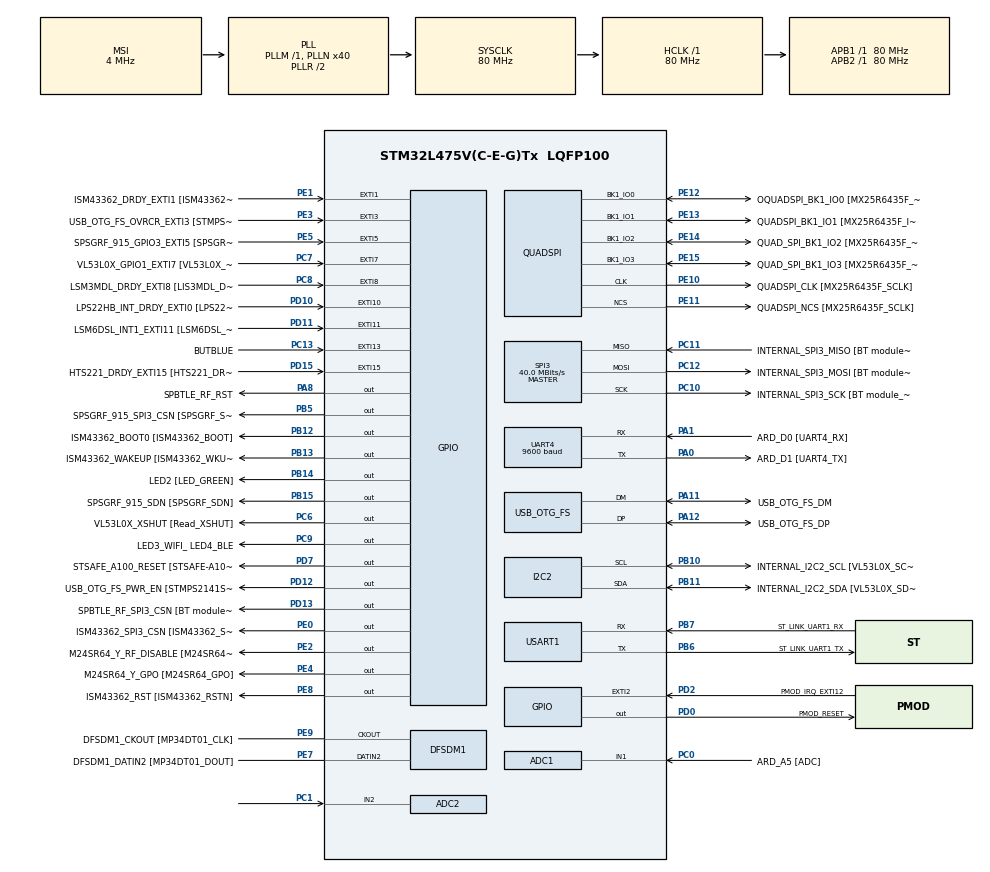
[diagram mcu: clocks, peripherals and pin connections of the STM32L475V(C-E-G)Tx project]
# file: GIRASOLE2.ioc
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ADC1.Channel-0\#ChannelRegularConversion=ADC_CHANNEL_1
ADC1.NbrOfConversionFlag=1
ADC1.OffsetNumber-0\#ChannelRegularConversion=ADC_OFFSET_NONE
ADC1.Rank-0\#ChannelRegularConversion=1
ADC1.SamplingTime-0\#ChannelRegularConversion=ADC_SAMPLETIME_2CYCLES_5
ADC1.master=1
ADC2.Channel-0\#ChannelRegularConversion=ADC_CHANNEL_2
ADC2.NbrOfConversionFlag=1
ADC2.OffsetNumber-0\#ChannelRegularConversion=ADC_OFFSET_NONE
ADC2.Rank-0\#ChannelRegularConversion=1
ADC2.SamplingTime-0\#ChannelRegularConversion=ADC_SAMPLETIME_2CYCLES_5
FREERTOS.BinarySemaphores01=rpanel_sem,Dynamic,NULL;lpanel_sem,Dynamic,NULL;led1_sem,Dynamic,NULL;led2_sem,Dynamic,NULL;led3_sem,Dynamic,NULL;button_sem,Dynamic,NULL
FREERTOS.Mutexes01=MutexPD,Dynamic,NULL;panelsMutex,Dynamic,NULL
FREERTOS.Tasks01=ReadLeftPanel,0,128,StartReadLeftPanel,Default,NULL,Dynamic,NULL,NULL;ReadRightPanel,0,128,StartReadRightPanel,Default,NULL,Dynamic,NULL,NULL;SerialDebug,0,128,StartSerialDebug,Default,NULL,Dynamic,NULL,NULL;SyncButtonTask,1,128,StartSyncButton,Default,NULL,Dynamic,NULL,NULL;ledTask1,0,128,StartLedTask1,Default,NULL,Dynamic,NULL,NULL;ledTask2,0,128,StartLedTask2,Default,NULL,Dynamic,NULL,NULL;ledTask3,0,128,StartLedTask3,Default,NULL,Dynamic,NULL,NULL
FREERTOS.configTOTAL_HEAP_SIZE=6000
Mcu.Family=STM32L4
Mcu.Name=STM32L475V(C-E-G)Tx
Mcu.Package=LQFP100
NVIC.EXTI15_10_IRQn=true\:5\:0\:false\:false\:true\:true\:true\:true
NVIC.EXTI9_5_IRQn=true\:5\:0\:false\:false\:true\:true\:true\:true
NVIC.PriorityGroup=NVIC_PRIORITYGROUP_4
NVIC.TIM1_UP_TIM16_IRQn=true\:0\:0\:false\:false\:true\:false\:false\:true
NVIC.TimeBase=TIM1_UP_TIM16_IRQn
NVIC.TimeBaseIP=TIM1
NVIC.UART4_IRQn=true\:5\:0\:false\:false\:true\:true\:true\:true
PA0.GPIO_Label=ARD_D1 [UART4_TX]
PA0.Mode=Asynchronous
PA0.Signal=UART4_TX
PA1.GPIO_Label=ARD_D0 [UART4_RX]
PA1.Mode=Asynchronous
PA1.Signal=UART4_RX
PA10.GPIO_Label=USB_OTG_FS_ID
PA10.Signal=USB_OTG_FS_ID
PA11.GPIO_Label=USB_OTG_FS_DM
PA11.Mode=Device_Only
PA11.Signal=USB_OTG_FS_DM
PA12.GPIO_Label=USB_OTG_FS_DP
PA12.Mode=Device_Only
PA12.Signal=USB_OTG_FS_DP
PA13\ (JTMS-SWDIO).GPIO_Label=SYS_JTMS_SWDIO
PA13\ (JTMS-SWDIO).Mode=Serial_Wire
PA13\ (JTMS-SWDIO).Signal=SYS_JTMS-SWDIO
PA14\ (JTCK-SWCLK).GPIO_Label=SYS_JTCK_SWCLK
PA14\ (JTCK-SWCLK).Mode=Serial_Wire
PA14\ (JTCK-SWCLK).Signal=SYS_JTCK-SWCLK
PA8.GPIO_Label=SPBTLE_RF_RST
PA8.Signal=GPIO_Output
PA9.GPIO_Label=USB_OTG_FS_VBUS [STMPS2141STR_OUT]
PA9.Signal=USB_OTG_FS_VBUS
PB10.GPIO_Label=INTERNAL_I2C2_SCL [VL53L0X_SCL]
PB10.Mode=I2C
PB10.Signal=I2C2_SCL
PB11.GPIO_Label=INTERNAL_I2C2_SDA [VL53L0X_SDA]
PB11.Mode=I2C
PB11.Signal=I2C2_SDA
PB12.GPIO_Label=ISM43362_BOOT0 [ISM43362_BOOT]
PB12.Signal=GPIO_Output
PB13.GPIO_Label=ISM43362_WAKEUP [ISM43362_WKUP]
PB13.Signal=GPIO_Output
PB14.GPIO_Label=LED2 [LED_GREEN]
PB14.Signal=GPIO_Output
PB15.GPIO_Label=SPSGRF_915_SDN [SPSGRF_SDN]
PB15.Signal=GPIO_Output
PB3\ (JTDO-TRACESWO).GPIO_Label=SYS_JTD0_SWO
PB3\ (JTDO-TRACESWO).Signal=SYS_JTDO-SWO
PB5.GPIO_Label=SPSGRF_915_SPI3_CSN [SPSGRF_SPI_CS]
PB5.PinState=GPIO_PIN_SET
PB5.Signal=GPIO_Output
PB6.GPIO_Label=ST_LINK_UART1_TX
PB6.Mode=Asynchronous
PB6.Signal=USART1_TX
PB7.GPIO_Label=ST_LINK_UART1_RX
PB7.Mode=Asynchronous
PB7.Signal=USART1_RX
PC0.GPIO_Label=ARD_A5 [ADC]
PC0.Signal=ADCx_IN1
PC1.Signal=ADCx_IN2
PC10.GPIO_Label=INTERNAL_SPI3_SCK [BT module_SPI_SCLK] [ISM43362_SCK]
PC10.Mode=Full_Duplex_Master
PC10.Signal=SPI3_SCK
PC11.GPIO_Label=INTERNAL_SPI3_MISO [BT module_SPI_MISO] [ISM43362_MISO]
PC11.Mode=Full_Duplex_Master
PC11.Signal=SPI3_MISO
PC12.GPIO_Label=INTERNAL_SPI3_MOSI [BT module_SPI_MOSI] [ISM43362_MOSI]
PC12.Mode=Full_Duplex_Master
PC12.Signal=SPI3_MOSI
PC13.GPIO_Label=BUTBLUE
PC13.GPIO_ModeDefaultEXTI=GPIO_MODE_IT_FALLING
PC13.Signal=GPXTI13
PC14-OSC32_IN\ (PC14).Mode=LSE-External-Oscillator
PC14-OSC32_IN\ (PC14).Signal=RCC_OSC32_IN
PC15-OSC32_OUT\ (PC15).Mode=LSE-External-Oscillator
PC15-OSC32_OUT\ (PC15).Signal=RCC_OSC32_OUT
PC6.GPIO_Label=VL53L0X_XSHUT [Read_XSHUT]
PC6.Signal=GPIO_Output
PC7.GPIO_Label=VL53L0X_GPIO1_EXTI7 [VL53L0X_GPIO1]
PC7.Signal=GPXTI7
PC8.GPIO_Label=LSM3MDL_DRDY_EXTI8 [LIS3MDL_DRDY]
PC8.Signal=GPXTI8
PC9.GPIO_Label=LED3_WIFI_ LED4_BLE
PC9.Signal=GPIO_Output
PD0.GPIO_Label=PMOD_RESET
PD0.Signal=GPIO_Output
PD1.GPIO_Label=PMOD_SPI2_SCK
PD1.Signal=SPI2_SCK
PD10.GPIO_Label=LPS22HB_INT_DRDY_EXTI0 [LPS22HB_INT_DRDY] 
PD10.Signal=GPXTI10
PD11.GPIO_Label=LSM6DSL_INT1_EXTI11 [LSM6DSL_INT1]
PD11.Signal=GPXTI11
PD12.GPIO_Label=USB_OTG_FS_PWR_EN [STMPS2141STR_EN]
PD12.Signal=GPIO_Output
PD13.GPIO_Label=SPBTLE_RF_SPI3_CSN [BT module_SPI_CS]
PD13.PinState=GPIO_PIN_SET
PD13.Signal=GPIO_Output
PD15.GPIO_Label=HTS221_DRDY_EXTI15 [HTS221_DRDY]
PD15.Signal=GPXTI15
PD2.GPIO_Label=PMOD_IRQ_EXTI12
PD2.Signal=GPXTI2
PD7.GPIO_Label=STSAFE_A100_RESET [STSAFE-A100_RESET]
PD7.Signal=GPIO_Output
PD8.GPIO_Label=INTERNAL_UART3_TX [ISM43362_RX]
PD8.Signal=USART3_TX
PD9.GPIO_Label=INTERNAL_UART3_RX [ISM43362_TX]
PD9.Signal=USART3_RX
PE0.GPIO_Label=ISM43362_SPI3_CSN [ISM43362_SSN]
PE0.PinState=GPIO_PIN_SET
PE0.Signal=GPIO_Output
PE1.GPIO_Label=ISM43362_DRDY_EXTI1 [ISM43362_DATARDY]
PE1.Signal=GPXTI1
PE10.GPIO_Label=QUADSPI_CLK [MX25R6435F_SCLK]
PE10.Mode=Single Bank
PE10.Signal=QUADSPI_CLK
PE11.GPIO_Label=QUADSPI_NCS [MX25R6435F_SCLK]
PE11.Mode=Single Bank
PE11.Signal=QUADSPI_NCS
PE12.GPIO_Label=OQUADSPI_BK1_IO0 [MX25R6435F_IO0]
PE12.Mode=Single Bank
PE12.Signal=QUADSPI_BK1_IO0
PE13.GPIO_Label=QUADSPI_BK1_IO1 [MX25R6435F_IO1]
PE13.Mode=Single Bank
PE13.Signal=QUADSPI_BK1_IO1
PE14.GPIO_Label=QUAD_SPI_BK1_IO2 [MX25R6435F_IO2]
PE14.Mode=Single Bank
PE14.Signal=QUADSPI_BK1_IO2
PE15.GPIO_Label=QUAD_SPI_BK1_IO3 [MX25R6435F_IO3]
PE15.Mode=Single Bank
PE15.Signal=QUADSPI_BK1_IO3
PE2.GPIO_Label=M24SR64_Y_RF_DISABLE [M24SR64_RFDIS]
PE2.Signal=GPIO_Output
PE3.GPIO_Label=USB_OTG_FS_OVRCR_EXTI3 [STMPS2141STR_FAULT]
PE3.Signal=GPXTI3
PE4.GPIO_Label=M24SR64_Y_GPO [M24SR64_GPO]
PE4.Signal=GPIO_Output
PE5.GPIO_Label=SPSGRF_915_GPIO3_EXTI5 [SPSGRF_GPIO_3]
PE5.Signal=GPXTI5
PE7.GPIO_Label=DFSDM1_DATIN2 [MP34DT01_DOUT]
PE7.Signal=S_DATAIN2DFSDM1
PE8.GPIO_Label=ISM43362_RST [ISM43362_RSTN]
PE8.Signal=GPIO_Output
PE9.GPIO_Label=DFSDM1_CKOUT [MP34DT01_CLK]
PE9.Signal=S_CKOUTDFSDM1
ProjectManager.HeapSize=0x200
ProjectManager.StackSize=0x400
ProjectManager.TargetToolchain=STM32CubeIDE
RCC.ADCFreq_Value=48000000
RCC.AHBFreq_Value=80000000
RCC.APB1Freq_Value=80000000
RCC.APB1TimFreq_Value=80000000
RCC.APB2Freq_Value=80000000
RCC.APB2TimFreq_Value=80000000
RCC.CortexFreq_Value=80000000
RCC.HCLKFreq_Value=80000000
RCC.HSE_VALUE=8000000
RCC.HSI_VALUE=16000000
RCC.MSI_VALUE=4000000
RCC.PLLN=40
RCC.PLLSAI1N=24
RCC.SYSCLKFreq_VALUE=80000000
RCC.SYSCLKSource=RCC_SYSCLKSOURCE_PLLCLK
RCC.USBFreq_Value=48000000
RCC.VCOOutputFreq_Value=160000000
SH.ADCx_IN1.0=ADC1_IN1,IN1-Single-Ended
SH.ADCx_IN2.0=ADC1_IN2
SH.ADCx_IN2.1=ADC2_IN2,IN2-Single-Ended
SH.S_CKOUTDFSDM1.0=DFSDM1_CKOUT,CKOUT
SH.S_CKOUTDFSDM1.1=DFSDM1_CKOUT,PDM_SPI_Input_from_ch12_and_Internal_Clock
SH.S_DATAIN2DFSDM1.0=DFSDM1_DATIN2,PDM_SPI_Input_from_ch12_and_Internal_Clock
SPI3.CalculateBaudRate=40.0 MBits/s
SPI3.Direction=SPI_DIRECTION_2LINES
SPI3.Mode=SPI_MODE_MASTER
SPI3.VirtualType=VM_MASTER
UART4.BaudRate=9600
USART1.VirtualMode-Asynchronous=VM_ASYNC
USB_OTG_FS.VirtualMode=Device_Only
VP_FREERTOS_VS_CMSIS_V1.Mode=CMSIS_V1
VP_SYS_VS_tim1.Mode=TIM1
board=B-L475E-IOT01A1

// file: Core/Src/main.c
/* USER CODE BEGIN Header */
/**
  ******************************************************************************
  * @file           : main.c
  * @brief          : Main program body
  ******************************************************************************
  * @attention
  *
  * <h2><center>&copy; Copyright (c) 2020 STMicroelectronics.
  * All rights reserved.</center></h2>
  *
  * This software component is licensed by ST under BSD 3-Clause license,
  * the "License"; You may not use this file except in compliance with the
  * License. You may obtain a copy of the License at:
  *                        opensource.org/licenses/BSD-3-Clause
  *
  ******************************************************************************
  */
/* USER CODE END Header */

#include "main.h"
#include "cmsis_os.h"

/* USER CODE BEGIN PM */
#define SERIAL
#define BLUETOOTH
/* USER CODE END PM */

ADC_HandleTypeDef hadc1;
ADC_HandleTypeDef hadc2;

DFSDM_Channel_HandleTypeDef hdfsdm1_channel1;

I2C_HandleTypeDef hi2c2;

QSPI_HandleTypeDef hqspi;

SPI_HandleTypeDef hspi3;

UART_HandleTypeDef huart4;
UART_HandleTypeDef huart1;

PCD_HandleTypeDef hpcd_USB_OTG_FS;

osThreadId ReadLeftPanelHandle;
osThreadId ReadRightPanelHandle;
osThreadId SerialDebugHandle;
osThreadId SyncButtonTaskHandle;
osThreadId ledTask1Handle;
osThreadId ledTask2Handle;
osThreadId ledTask3Handle;
osMutexId MutexPDHandle;
osMutexId panelsMutexHandle;
osSemaphoreId rpanel_semHandle;
osSemaphoreId lpanel_semHandle;
osSemaphoreId led1_semHandle;
osSemaphoreId led2_semHandle;
osSemaphoreId led3_semHandle;
osSemaphoreId button_semHandle;
/* USER CODE BEGIN PV */
uint8_t* Rx_Data[1];
/* USER CODE END PV */

void SystemClock_Config(void);
static void MX_GPIO_Init(void);
static void MX_DFSDM1_Init(void);
static void MX_I2C2_Init(void);
static void MX_QUADSPI_Init(void);
static void MX_SPI3_Init(void);
static void MX_USART1_UART_Init(void);
static void MX_USB_OTG_FS_PCD_Init(void);
static void MX_ADC1_Init(void);
static void MX_ADC2_Init(void);
static void MX_UART4_Init(void);
void StartReadLeftPanel(void const * argument);
void StartReadRightPanel(void const * argument);
void StartSerialDebug(void const * argument);
void StartSyncButton(void const * argument);
void StartLedTask1(void const * argument);
void StartLedTask2(void const * argument);
void StartLedTask3(void const * argument);

/* USER CODE BEGIN 0 */

// Structure for panels data
struct panelsData {
	int rightPanelValue, leftPanelValue, threshold, variation;
} pd;

// Function to initialize panel data
void panelDataInit() {
	pd.leftPanelValue = 0;
	pd.rightPanelValue = 0;
	pd.threshold = 10;
	pd.variation = 10;
}

//Structure for precedence constraints management
struct prec_control {
	int lpw, rpw;
	int l1w, l2w, l3w;
	int lpanel_done, rpanel_done;
	int led1_done, led2_done, led3_done;
	int button_wait, button_can_do;
} pcm;

void prec_control_manag_init()
{
	pcm.lpw = pcm.rpw = 0;
	pcm.l1w = pcm.l2w = pcm.l3w = 0;
	pcm.lpanel_done = pcm.rpanel_done = 0;
	pcm.led1_done = pcm.led2_done = pcm.led3_done = 1;
	pcm.button_wait = pcm.button_can_do = 0;
}

// Variable on 1 if button has been pressed
extern int blue_button_pressed;

/* USER CODE END 0 */

int main(void)
{
  /* USER CODE BEGIN 1 */
	// Initialize panels data structure
	panelDataInit();
	// Initialize control data structure
	prec_control_manag_init();
  /* USER CODE END 1 */

  /* MCU Configuration--------------------------------------------------------*/

  /* Reset of all peripherals, Initializes the Flash interface and the Systick. */
  HAL_Init();

  /* Configure the system clock */
  SystemClock_Config();

  /* Initialize all configured peripherals */
  MX_GPIO_Init();
  MX_DFSDM1_Init();
  MX_I2C2_Init();
  MX_QUADSPI_Init();
  MX_SPI3_Init();
  MX_USART1_UART_Init();
  MX_USB_OTG_FS_PCD_Init();
  MX_ADC1_Init();
  MX_ADC2_Init();
  MX_UART4_Init();
  /* USER CODE BEGIN 2 */
  __HAL_UART_ENABLE_IT(&huart4, UART_IT_RXNE);
  __HAL_UART_ENABLE_IT(&huart4, UART_IT_TC);
  /* USER CODE END 2 */

  /* Create the mutex(es) */
  /* definition and creation of MutexPD */
  osMutexDef(MutexPD);
  MutexPDHandle = osMutexCreate(osMutex(MutexPD));

  /* definition and creation of panelsMutex */
  osMutexDef(panelsMutex);
  panelsMutexHandle = osMutexCreate(osMutex(panelsMutex));

  /* USER CODE BEGIN RTOS_MUTEX */
  /* add mutexes, ... */
  //osMutexWait(panelsMutexHandle, osWaitForever);
  /* USER CODE END RTOS_MUTEX */

  /* Create the semaphores(s) */
  /* definition and creation of rpanel_sem */
  osSemaphoreDef(rpanel_sem);
  rpanel_semHandle = osSemaphoreCreate(osSemaphore(rpanel_sem), 1);

  /* definition and creation of lpanel_sem */
  osSemaphoreDef(lpanel_sem);
  lpanel_semHandle = osSemaphoreCreate(osSemaphore(lpanel_sem), 1);

  /* definition and creation of led1_sem */
  osSemaphoreDef(led1_sem);
  led1_semHandle = osSemaphoreCreate(osSemaphore(led1_sem), 1);

  /* definition and creation of led2_sem */
  osSemaphoreDef(led2_sem);
  led2_semHandle = osSemaphoreCreate(osSemaphore(led2_sem), 1);

  /* definition and creation of led3_sem */
  osSemaphoreDef(led3_sem);
  led3_semHandle = osSemaphoreCreate(osSemaphore(led3_sem), 1);

  /* definition and creation of button_sem */
  osSemaphoreDef(button_sem);
  button_semHandle = osSemaphoreCreate(osSemaphore(button_sem), 1);

  /* Create the thread(s) */
  /* definition and creation of ReadLeftPanel */
  osThreadDef(ReadLeftPanel, StartReadLeftPanel, osPriorityNormal, 0, 128);
  ReadLeftPanelHandle = osThreadCreate(osThread(ReadLeftPanel), NULL);

  /* definition and creation of ReadRightPanel */
  osThreadDef(ReadRightPanel, StartReadRightPanel, osPriorityNormal, 0, 128);
  ReadRightPanelHandle = osThreadCreate(osThread(ReadRightPanel), NULL);

  /* definition and creation of SerialDebug */
  osThreadDef(SerialDebug, StartSerialDebug, osPriorityNormal, 0, 128);
  SerialDebugHandle = osThreadCreate(osThread(SerialDebug), NULL);

  /* definition and creation of SyncButtonTask */
  osThreadDef(SyncButtonTask, StartSyncButton, osPriorityAboveNormal, 0, 128);
  SyncButtonTaskHandle = osThreadCreate(osThread(SyncButtonTask), NULL);

  /* definition and creation of ledTask1 */
  osThreadDef(ledTask1, StartLedTask1, osPriorityNormal, 0, 128);
  ledTask1Handle = osThreadCreate(osThread(ledTask1), NULL);

  /* definition and creation of ledTask2 */
  osThreadDef(ledTask2, StartLedTask2, osPriorityNormal, 0, 128);
  ledTask2Handle = osThreadCreate(osThread(ledTask2), NULL);

  /* definition and creation of ledTask3 */
  osThreadDef(ledTask3, StartLedTask3, osPriorityNormal, 0, 128);
  ledTask3Handle = osThreadCreate(osThread(ledTask3), NULL);

  /* Start scheduler */
  osKernelStart();

  /* We should never get here as control is now taken by the scheduler */

  /* Infinite loop */
  while (1)
  {

  }
}

void SystemClock_Config(void)
{
  RCC_OscInitTypeDef RCC_OscInitStruct = {0};
  RCC_ClkInitTypeDef RCC_ClkInitStruct = {0};
  RCC_PeriphCLKInitTypeDef PeriphClkInit = {0};

  /** Configure LSE Drive Capability
  */
  HAL_PWR_EnableBkUpAccess();
  __HAL_RCC_LSEDRIVE_CONFIG(RCC_LSEDRIVE_LOW);
  /** Initializes the CPU, AHB and APB busses clocks
  */
  RCC_OscInitStruct.OscillatorType = RCC_OSCILLATORTYPE_LSE|RCC_OSCILLATORTYPE_MSI;
  RCC_OscInitStruct.LSEState = RCC_LSE_ON;
  RCC_OscInitStruct.MSIState = RCC_MSI_ON;
  RCC_OscInitStruct.MSICalibrationValue = 0;
  RCC_OscInitStruct.MSIClockRange = RCC_MSIRANGE_6;
  RCC_OscInitStruct.PLL.PLLState = RCC_PLL_ON;
  RCC_OscInitStruct.PLL.PLLSource = RCC_PLLSOURCE_MSI;
  RCC_OscInitStruct.PLL.PLLM = 1;
  RCC_OscInitStruct.PLL.PLLN = 40;
  RCC_OscInitStruct.PLL.PLLP = RCC_PLLP_DIV7;
  RCC_OscInitStruct.PLL.PLLQ = RCC_PLLQ_DIV2;
  RCC_OscInitStruct.PLL.PLLR = RCC_PLLR_DIV2;
  if (HAL_RCC_OscConfig(&RCC_OscInitStruct) != HAL_OK)
  {
    Error_Handler();
  }
  /** Initializes the CPU, AHB and APB busses clocks
  */
  RCC_ClkInitStruct.ClockType = RCC_CLOCKTYPE_HCLK|RCC_CLOCKTYPE_SYSCLK
                              |RCC_CLOCKTYPE_PCLK1|RCC_CLOCKTYPE_PCLK2;
  RCC_ClkInitStruct.SYSCLKSource = RCC_SYSCLKSOURCE_PLLCLK;
  RCC_ClkInitStruct.AHBCLKDivider = RCC_SYSCLK_DIV1;
  RCC_ClkInitStruct.APB1CLKDivider = RCC_HCLK_DIV1;
  RCC_ClkInitStruct.APB2CLKDivider = RCC_HCLK_DIV1;

  if (HAL_RCC_ClockConfig(&RCC_ClkInitStruct, FLASH_LATENCY_4) != HAL_OK)
  {
    Error_Handler();
  }
  PeriphClkInit.PeriphClockSelection = RCC_PERIPHCLK_USART1|RCC_PERIPHCLK_UART4
                              |RCC_PERIPHCLK_I2C2|RCC_PERIPHCLK_DFSDM1
                              |RCC_PERIPHCLK_USB|RCC_PERIPHCLK_ADC;
  PeriphClkInit.Usart1ClockSelection = RCC_USART1CLKSOURCE_PCLK2;
  PeriphClkInit.Uart4ClockSelection = RCC_UART4CLKSOURCE_PCLK1;
  PeriphClkInit.I2c2ClockSelection = RCC_I2C2CLKSOURCE_PCLK1;
  PeriphClkInit.AdcClockSelection = RCC_ADCCLKSOURCE_PLLSAI1;
  PeriphClkInit.Dfsdm1ClockSelection = RCC_DFSDM1CLKSOURCE_PCLK;
  PeriphClkInit.UsbClockSelection = RCC_USBCLKSOURCE_PLLSAI1;
  PeriphClkInit.PLLSAI1.PLLSAI1Source = RCC_PLLSOURCE_MSI;
  PeriphClkInit.PLLSAI1.PLLSAI1M = 1;
  PeriphClkInit.PLLSAI1.PLLSAI1N = 24;
  PeriphClkInit.PLLSAI1.PLLSAI1P = RCC_PLLP_DIV7;
  PeriphClkInit.PLLSAI1.PLLSAI1Q = RCC_PLLQ_DIV2;
  PeriphClkInit.PLLSAI1.PLLSAI1R = RCC_PLLR_DIV2;
  PeriphClkInit.PLLSAI1.PLLSAI1ClockOut = RCC_PLLSAI1_48M2CLK|RCC_PLLSAI1_ADC1CLK;
  if (HAL_RCCEx_PeriphCLKConfig(&PeriphClkInit) != HAL_OK)
  {
    Error_Handler();
  }
  /** Configure the main internal regulator output voltage
  */
  if (HAL_PWREx_ControlVoltageScaling(PWR_REGULATOR_VOLTAGE_SCALE1) != HAL_OK)
  {
    Error_Handler();
  }
  /** Enable MSI Auto calibration
  */
  HAL_RCCEx_EnableMSIPLLMode();
}

static void MX_ADC1_Init(void)
{

  ADC_MultiModeTypeDef multimode = {0};
  ADC_ChannelConfTypeDef sConfig = {0};

  /** Common config
  */
  hadc1.Instance = ADC1;
  hadc1.Init.ClockPrescaler = ADC_CLOCK_ASYNC_DIV1;
  hadc1.Init.Resolution = ADC_RESOLUTION_12B;
  hadc1.Init.DataAlign = ADC_DATAALIGN_RIGHT;
  hadc1.Init.ScanConvMode = ADC_SCAN_DISABLE;
  hadc1.Init.EOCSelection = ADC_EOC_SINGLE_CONV;
  hadc1.Init.LowPowerAutoWait = DISABLE;
  hadc1.Init.ContinuousConvMode = DISABLE;
  hadc1.Init.NbrOfConversion = 1;
  hadc1.Init.DiscontinuousConvMode = DISABLE;
  hadc1.Init.ExternalTrigConv = ADC_SOFTWARE_START;
  hadc1.Init.ExternalTrigConvEdge = ADC_EXTERNALTRIGCONVEDGE_NONE;
  hadc1.Init.DMAContinuousRequests = DISABLE;
  hadc1.Init.Overrun = ADC_OVR_DATA_PRESERVED;
  hadc1.Init.OversamplingMode = DISABLE;
  if (HAL_ADC_Init(&hadc1) != HAL_OK)
  {
    Error_Handler();
  }
  /** Configure the ADC multi-mode
  */
  multimode.Mode = ADC_MODE_INDEPENDENT;
  if (HAL_ADCEx_MultiModeConfigChannel(&hadc1, &multimode) != HAL_OK)
  {
    Error_Handler();
  }
  /** Configure Regular Channel
  */
  sConfig.Channel = ADC_CHANNEL_1;
  sConfig.Rank = ADC_REGULAR_RANK_1;
  sConfig.SamplingTime = ADC_SAMPLETIME_2CYCLES_5;
  sConfig.SingleDiff = ADC_SINGLE_ENDED;
  sConfig.OffsetNumber = ADC_OFFSET_NONE;
  sConfig.Offset = 0;
  if (HAL_ADC_ConfigChannel(&hadc1, &sConfig) != HAL_OK)
  {
    Error_Handler();
  }

}

static void MX_ADC2_Init(void)
{

  ADC_ChannelConfTypeDef sConfig = {0};

  /** Common config
  */
  hadc2.Instance = ADC2;
  hadc2.Init.ClockPrescaler = ADC_CLOCK_ASYNC_DIV1;
  hadc2.Init.Resolution = ADC_RESOLUTION_12B;
  hadc2.Init.DataAlign = ADC_DATAALIGN_RIGHT;
  hadc2.Init.ScanConvMode = ADC_SCAN_DISABLE;
  hadc2.Init.EOCSelection = ADC_EOC_SINGLE_CONV;
  hadc2.Init.LowPowerAutoWait = DISABLE;
  hadc2.Init.ContinuousConvMode = DISABLE;
  hadc2.Init.NbrOfConversion = 1;
  hadc2.Init.DiscontinuousConvMode = DISABLE;
  hadc2.Init.ExternalTrigConv = ADC_SOFTWARE_START;
  hadc2.Init.ExternalTrigConvEdge = ADC_EXTERNALTRIGCONVEDGE_NONE;
  hadc2.Init.DMAContinuousRequests = DISABLE;
  hadc2.Init.Overrun = ADC_OVR_DATA_PRESERVED;
  hadc2.Init.OversamplingMode = DISABLE;
  if (HAL_ADC_Init(&hadc2) != HAL_OK)
  {
    Error_Handler();
  }
  /** Configure Regular Channel
  */
  sConfig.Channel = ADC_CHANNEL_2;
  sConfig.Rank = ADC_REGULAR_RANK_1;
  sConfig.SamplingTime = ADC_SAMPLETIME_2CYCLES_5;
  sConfig.SingleDiff = ADC_SINGLE_ENDED;
  sConfig.OffsetNumber = ADC_OFFSET_NONE;
  sConfig.Offset = 0;
  if (HAL_ADC_ConfigChannel(&hadc2, &sConfig) != HAL_OK)
  {
    Error_Handler();
  }

}

static void MX_DFSDM1_Init(void)
{

  hdfsdm1_channel1.Instance = DFSDM1_Channel1;
  hdfsdm1_channel1.Init.OutputClock.Activation = ENABLE;
  hdfsdm1_channel1.Init.OutputClock.Selection = DFSDM_CHANNEL_OUTPUT_CLOCK_SYSTEM;
  hdfsdm1_channel1.Init.OutputClock.Divider = 2;
  hdfsdm1_channel1.Init.Input.Multiplexer = DFSDM_CHANNEL_EXTERNAL_INPUTS;
  hdfsdm1_channel1.Init.Input.DataPacking = DFSDM_CHANNEL_STANDARD_MODE;
  hdfsdm1_channel1.Init.Input.Pins = DFSDM_CHANNEL_FOLLOWING_CHANNEL_PINS;
  hdfsdm1_channel1.Init.SerialInterface.Type = DFSDM_CHANNEL_SPI_RISING;
  hdfsdm1_channel1.Init.SerialInterface.SpiClock = DFSDM_CHANNEL_SPI_CLOCK_INTERNAL;
  hdfsdm1_channel1.Init.Awd.FilterOrder = DFSDM_CHANNEL_FASTSINC_ORDER;
  hdfsdm1_channel1.Init.Awd.Oversampling = 1;
  hdfsdm1_channel1.Init.Offset = 0;
  hdfsdm1_channel1.Init.RightBitShift = 0x00;
  if (HAL_DFSDM_ChannelInit(&hdfsdm1_channel1) != HAL_OK)
  {
    Error_Handler();
  }

}

static void MX_I2C2_Init(void)
{

  hi2c2.Instance = I2C2;
  hi2c2.Init.Timing = 0x10909CEC;
  hi2c2.Init.OwnAddress1 = 0;
  hi2c2.Init.AddressingMode = I2C_ADDRESSINGMODE_7BIT;
  hi2c2.Init.DualAddressMode = I2C_DUALADDRESS_DISABLE;
  hi2c2.Init.OwnAddress2 = 0;
  hi2c2.Init.OwnAddress2Masks = I2C_OA2_NOMASK;
  hi2c2.Init.GeneralCallMode = I2C_GENERALCALL_DISABLE;
  hi2c2.Init.NoStretchMode = I2C_NOSTRETCH_DISABLE;
  if (HAL_I2C_Init(&hi2c2) != HAL_OK)
  {
    Error_Handler();
  }
  /** Configure Analogue filter
  */
  if (HAL_I2CEx_ConfigAnalogFilter(&hi2c2, I2C_ANALOGFILTER_ENABLE) != HAL_OK)
  {
    Error_Handler();
  }
  /** Configure Digital filter
  */
  if (HAL_I2CEx_ConfigDigitalFilter(&hi2c2, 0) != HAL_OK)
  {
    Error_Handler();
  }

}

static void MX_QUADSPI_Init(void)
{

  /* QUADSPI parameter configuration*/
  hqspi.Instance = QUADSPI;
  hqspi.Init.ClockPrescaler = 255;
  hqspi.Init.FifoThreshold = 1;
  hqspi.Init.SampleShifting = QSPI_SAMPLE_SHIFTING_NONE;
  hqspi.Init.FlashSize = 1;
  hqspi.Init.ChipSelectHighTime = QSPI_CS_HIGH_TIME_1_CYCLE;
  hqspi.Init.ClockMode = QSPI_CLOCK_MODE_0;
  if (HAL_QSPI_Init(&hqspi) != HAL_OK)
  {
    Error_Handler();
  }

}

static void MX_SPI3_Init(void)
{

  /* SPI3 parameter configuration*/
  hspi3.Instance = SPI3;
  hspi3.Init.Mode = SPI_MODE_MASTER;
  hspi3.Init.Direction = SPI_DIRECTION_2LINES;
  hspi3.Init.DataSize = SPI_DATASIZE_4BIT;
  hspi3.Init.CLKPolarity = SPI_POLARITY_LOW;
  hspi3.Init.CLKPhase = SPI_PHASE_1EDGE;
  hspi3.Init.NSS = SPI_NSS_SOFT;
  hspi3.Init.BaudRatePrescaler = SPI_BAUDRATEPRESCALER_2;
  hspi3.Init.FirstBit = SPI_FIRSTBIT_MSB;
  hspi3.Init.TIMode = SPI_TIMODE_DISABLE;
  hspi3.Init.CRCCalculation = SPI_CRCCALCULATION_DISABLE;
  hspi3.Init.CRCPolynomial = 7;
  hspi3.Init.CRCLength = SPI_CRC_LENGTH_DATASIZE;
  hspi3.Init.NSSPMode = SPI_NSS_PULSE_ENABLE;
  if (HAL_SPI_Init(&hspi3) != HAL_OK)
  {
    Error_Handler();
  }

}

static void MX_UART4_Init(void)
{

  huart4.Instance = UART4;
  huart4.Init.BaudRate = 9600;
  huart4.Init.WordLength = UART_WORDLENGTH_8B;
  huart4.Init.StopBits = UART_STOPBITS_1;
  huart4.Init.Parity = UART_PARITY_NONE;
  huart4.Init.Mode = UART_MODE_TX_RX;
  huart4.Init.HwFlowCtl = UART_HWCONTROL_NONE;
  huart4.Init.OverSampling = UART_OVERSAMPLING_16;
  huart4.Init.OneBitSampling = UART_ONE_BIT_SAMPLE_DISABLE;
  huart4.AdvancedInit.AdvFeatureInit = UART_ADVFEATURE_NO_INIT;
  if (HAL_UART_Init(&huart4) != HAL_OK)
  {
    Error_Handler();
  }

}

static void MX_USART1_UART_Init(void)
{

  huart1.Instance = USART1;
  huart1.Init.BaudRate = 115200;
  huart1.Init.WordLength = UART_WORDLENGTH_8B;
  huart1.Init.StopBits = UART_STOPBITS_1;
  huart1.Init.Parity = UART_PARITY_NONE;
  huart1.Init.Mode = UART_MODE_TX_RX;
  huart1.Init.HwFlowCtl = UART_HWCONTROL_NONE;
  huart1.Init.OverSampling = UART_OVERSAMPLING_16;
  huart1.Init.OneBitSampling = UART_ONE_BIT_SAMPLE_DISABLE;
  huart1.AdvancedInit.AdvFeatureInit = UART_ADVFEATURE_NO_INIT;
  if (HAL_UART_Init(&huart1) != HAL_OK)
  {
    Error_Handler();
  }

}

static void MX_USB_OTG_FS_PCD_Init(void)
{

  hpcd_USB_OTG_FS.Instance = USB_OTG_FS;
  hpcd_USB_OTG_FS.Init.dev_endpoints = 6;
  hpcd_USB_OTG_FS.Init.speed = PCD_SPEED_FULL;
  hpcd_USB_OTG_FS.Init.phy_itface = PCD_PHY_EMBEDDED;
  hpcd_USB_OTG_FS.Init.Sof_enable = DISABLE;
  hpcd_USB_OTG_FS.Init.low_power_enable = DISABLE;
  hpcd_USB_OTG_FS.Init.lpm_enable = DISABLE;
  hpcd_USB_OTG_FS.Init.battery_charging_enable = DISABLE;
  hpcd_USB_OTG_FS.Init.use_dedicated_ep1 = DISABLE;
  hpcd_USB_OTG_FS.Init.vbus_sensing_enable = DISABLE;
  if (HAL_PCD_Init(&hpcd_USB_OTG_FS) != HAL_OK)
  {
    Error_Handler();
  }

}

static void MX_GPIO_Init(void)
{
  GPIO_InitTypeDef GPIO_InitStruct = {0};

  /* GPIO Ports Clock Enable */
  __HAL_RCC_GPIOE_CLK_ENABLE();
  __HAL_RCC_GPIOC_CLK_ENABLE();
  __HAL_RCC_GPIOA_CLK_ENABLE();
  __HAL_RCC_GPIOB_CLK_ENABLE();
  __HAL_RCC_GPIOD_CLK_ENABLE();

  /*Configure GPIO pin Output Level */
  HAL_GPIO_WritePin(GPIOE, M24SR64_Y_RF_DISABLE_Pin|M24SR64_Y_GPO_Pin|ISM43362_RST_Pin, GPIO_PIN_RESET);

  /*Configure GPIO pin Output Level */
  HAL_GPIO_WritePin(GPIOB, ISM43362_BOOT0_Pin|ISM43362_WAKEUP_Pin|LED2_Pin|SPSGRF_915_SDN_Pin, GPIO_PIN_RESET);

  /*Configure GPIO pin Output Level */
  HAL_GPIO_WritePin(GPIOD, USB_OTG_FS_PWR_EN_Pin|PMOD_RESET_Pin|STSAFE_A100_RESET_Pin, GPIO_PIN_RESET);

  /*Configure GPIO pin Output Level */
  HAL_GPIO_WritePin(SPBTLE_RF_SPI3_CSN_GPIO_Port, SPBTLE_RF_SPI3_CSN_Pin, GPIO_PIN_SET);

  /*Configure GPIO pin Output Level */
  HAL_GPIO_WritePin(GPIOC, VL53L0X_XSHUT_Pin|LED3_WIFI__LED4_BLE_Pin, GPIO_PIN_RESET);

  /*Configure GPIO pin Output Level */
  HAL_GPIO_WritePin(SPBTLE_RF_RST_GPIO_Port, SPBTLE_RF_RST_Pin, GPIO_PIN_RESET);

  /*Configure GPIO pin Output Level */
  HAL_GPIO_WritePin(SPSGRF_915_SPI3_CSN_GPIO_Port, SPSGRF_915_SPI3_CSN_Pin, GPIO_PIN_SET);

  /*Configure GPIO pin Output Level */
  HAL_GPIO_WritePin(ISM43362_SPI3_CSN_GPIO_Port, ISM43362_SPI3_CSN_Pin, GPIO_PIN_SET);

  /*Configure GPIO pins : M24SR64_Y_RF_DISABLE_Pin M24SR64_Y_GPO_Pin ISM43362_RST_Pin ISM43362_SPI3_CSN_Pin */
  GPIO_InitStruct.Pin = M24SR64_Y_RF_DISABLE_Pin|M24SR64_Y_GPO_Pin|ISM43362_RST_Pin|ISM43362_SPI3_CSN_Pin;
  GPIO_InitStruct.Mode = GPIO_MODE_OUTPUT_PP;
  GPIO_InitStruct.Pull = GPIO_NOPULL;
  GPIO_InitStruct.Speed = GPIO_SPEED_FREQ_LOW;
  HAL_GPIO_Init(GPIOE, &GPIO_InitStruct);

  /*Configure GPIO pins : USB_OTG_FS_OVRCR_EXTI3_Pin SPSGRF_915_GPIO3_EXTI5_Pin ISM43362_DRDY_EXTI1_Pin */
  GPIO_InitStruct.Pin = USB_OTG_FS_OVRCR_EXTI3_Pin|SPSGRF_915_GPIO3_EXTI5_Pin|ISM43362_DRDY_EXTI1_Pin;
  GPIO_InitStruct.Mode = GPIO_MODE_IT_RISING;
  GPIO_InitStruct.Pull = GPIO_NOPULL;
  HAL_GPIO_Init(GPIOE, &GPIO_InitStruct);

  /*Configure GPIO pin : BUTBLUE_Pin */
  GPIO_InitStruct.Pin = BUTBLUE_Pin;
  GPIO_InitStruct.Mode = GPIO_MODE_IT_FALLING;
  GPIO_InitStruct.Pull = GPIO_NOPULL;
  HAL_GPIO_Init(BUTBLUE_GPIO_Port, &GPIO_InitStruct);

  /*Configure GPIO pins : ISM43362_BOOT0_Pin ISM43362_WAKEUP_Pin LED2_Pin SPSGRF_915_SDN_Pin
                           SPSGRF_915_SPI3_CSN_Pin */
  GPIO_InitStruct.Pin = ISM43362_BOOT0_Pin|ISM43362_WAKEUP_Pin|LED2_Pin|SPSGRF_915_SDN_Pin
                          |SPSGRF_915_SPI3_CSN_Pin;
  GPIO_InitStruct.Mode = GPIO_MODE_OUTPUT_PP;
  GPIO_InitStruct.Pull = GPIO_NOPULL;
  GPIO_InitStruct.Speed = GPIO_SPEED_FREQ_LOW;
  HAL_GPIO_Init(GPIOB, &GPIO_InitStruct);

  /*Configure GPIO pins : INTERNAL_UART3_TX_Pin INTERNAL_UART3_RX_Pin */
  GPIO_InitStruct.Pin = INTERNAL_UART3_TX_Pin|INTERNAL_UART3_RX_Pin;
  GPIO_InitStruct.Mode = GPIO_MODE_AF_PP;
  GPIO_InitStruct.Pull = GPIO_NOPULL;
  GPIO_InitStruct.Speed = GPIO_SPEED_FREQ_VERY_HIGH;
  GPIO_InitStruct.Alternate = GPIO_AF7_USART3;
  HAL_GPIO_Init(GPIOD, &GPIO_InitStruct);

  /*Configure GPIO pins : LPS22HB_INT_DRDY_EXTI0_Pin LSM6DSL_INT1_EXTI11_Pin HTS221_DRDY_EXTI15_Pin PMOD_IRQ_EXTI12_Pin */
  GPIO_InitStruct.Pin = LPS22HB_INT_DRDY_EXTI0_Pin|LSM6DSL_INT1_EXTI11_Pin|HTS221_DRDY_EXTI15_Pin|PMOD_IRQ_EXTI12_Pin;
  GPIO_InitStruct.Mode = GPIO_MODE_IT_RISING;
  GPIO_InitStruct.Pull = GPIO_NOPULL;
  HAL_GPIO_Init(GPIOD, &GPIO_InitStruct);

  /*Configure GPIO pins : USB_OTG_FS_PWR_EN_Pin SPBTLE_RF_SPI3_CSN_Pin PMOD_RESET_Pin STSAFE_A100_RESET_Pin */
  GPIO_InitStruct.Pin = USB_OTG_FS_PWR_EN_Pin|SPBTLE_RF_SPI3_CSN_Pin|PMOD_RESET_Pin|STSAFE_A100_RESET_Pin;
  GPIO_InitStruct.Mode = GPIO_MODE_OUTPUT_PP;
  GPIO_InitStruct.Pull = GPIO_NOPULL;
  GPIO_InitStruct.Speed = GPIO_SPEED_FREQ_LOW;
  HAL_GPIO_Init(GPIOD, &GPIO_InitStruct);

  /*Configure GPIO pins : VL53L0X_XSHUT_Pin LED3_WIFI__LED4_BLE_Pin */
  GPIO_InitStruct.Pin = VL53L0X_XSHUT_Pin|LED3_WIFI__LED4_BLE_Pin;
  GPIO_InitStruct.Mode = GPIO_MODE_OUTPUT_PP;
  GPIO_InitStruct.Pull = GPIO_NOPULL;
  GPIO_InitStruct.Speed = GPIO_SPEED_FREQ_LOW;
  HAL_GPIO_Init(GPIOC, &GPIO_InitStruct);

  /*Configure GPIO pins : VL53L0X_GPIO1_EXTI7_Pin LSM3MDL_DRDY_EXTI8_Pin */
  GPIO_InitStruct.Pin = VL53L0X_GPIO1_EXTI7_Pin|LSM3MDL_DRDY_EXTI8_Pin;
  GPIO_InitStruct.Mode = GPIO_MODE_IT_RISING;
  GPIO_InitStruct.Pull = GPIO_NOPULL;
  HAL_GPIO_Init(GPIOC, &GPIO_InitStruct);

  /*Configure GPIO pin : SPBTLE_RF_RST_Pin */
  GPIO_InitStruct.Pin = SPBTLE_RF_RST_Pin;
  GPIO_InitStruct.Mode = GPIO_MODE_OUTPUT_PP;
  GPIO_InitStruct.Pull = GPIO_NOPULL;
  GPIO_InitStruct.Speed = GPIO_SPEED_FREQ_LOW;
  HAL_GPIO_Init(SPBTLE_RF_RST_GPIO_Port, &GPIO_InitStruct);

  /*Configure GPIO pin : PMOD_SPI2_SCK_Pin */
  GPIO_InitStruct.Pin = PMOD_SPI2_SCK_Pin;
  GPIO_InitStruct.Mode = GPIO_MODE_AF_PP;
  GPIO_InitStruct.Pull = GPIO_NOPULL;
  GPIO_InitStruct.Speed = GPIO_SPEED_FREQ_VERY_HIGH;
  GPIO_InitStruct.Alternate = GPIO_AF5_SPI2;
  HAL_GPIO_Init(PMOD_SPI2_SCK_GPIO_Port, &GPIO_InitStruct);

  /* EXTI interrupt init*/
  HAL_NVIC_SetPriority(EXTI9_5_IRQn, 5, 0);
  HAL_NVIC_EnableIRQ(EXTI9_5_IRQn);

  HAL_NVIC_SetPriority(EXTI15_10_IRQn, 5, 0);
  HAL_NVIC_EnableIRQ(EXTI15_10_IRQn);

}

/* USER CODE BEGIN 4 */
void PostLedTasks()
{
    if (pcm.l1w)
    {
        pcm.l1w--;
        osSemaphoreRelease(led1_semHandle);
    }

    if (pcm.l2w)
    {
        pcm.l2w--;
        osSemaphoreRelease(led2_semHandle);
    }

    if (pcm.l3w)
    {
        pcm.l3w--;
        osSemaphoreRelease(led3_semHandle);
    }
}

void PostPanelTasks()
{
    if (pcm.lpw)
    {
        pcm.lpw--;
        osSemaphoreRelease(lpanel_semHandle);
    }

    if (pcm.rpw)
    {
        pcm.rpw--;
        osSemaphoreRelease(rpanel_semHandle);
    }
}

void ReadLPStart()
{
	osMutexWait(MutexPDHandle, osWaitForever);
	if (pcm.lpanel_done)
		pcm.lpw++;
	else
		osSemaphoreRelease(lpanel_semHandle);
	osMutexRelease(MutexPDHandle);
	osSemaphoreWait(lpanel_semHandle, osWaitForever);
}

void ReadLPEnd()
{
	osMutexWait(MutexPDHandle, osWaitForever);
	pcm.lpanel_done = 1;
	if (pcm.lpanel_done && pcm.rpanel_done)
	{
		pcm.button_can_do = 1;
		if (pcm.button_wait)
		{
			pcm.button_wait--;
			osSemaphoreRelease(button_semHandle);
		}
	 }
	osMutexRelease(MutexPDHandle);
}

void ReadRPStart()
{
	osMutexWait(MutexPDHandle, osWaitForever);
	if (pcm.rpanel_done)
		pcm.rpw++;
	else
		osSemaphoreRelease(rpanel_semHandle);
	osMutexRelease(MutexPDHandle);
	osSemaphoreWait(rpanel_semHandle, osWaitForever);
}

void ReadRPEnd()
{
	osMutexWait(MutexPDHandle, osWaitForever);
	pcm.rpanel_done = 1;
	if (pcm.lpanel_done && pcm.rpanel_done)
	{
		pcm.button_can_do = 1;
		if (pcm.button_wait)
		{
			pcm.button_wait--;
			osSemaphoreRelease(button_semHandle);
		}
	}
	osMutexRelease(MutexPDHandle);
}

void WriteL1Start()
{
	osMutexWait(MutexPDHandle, osWaitForever);
	if (pcm.led1_done)
		pcm.l1w++;
	else
		osSemaphoreRelease(led1_semHandle);
	osMutexRelease(MutexPDHandle);
	osSemaphoreWait(led1_semHandle, osWaitForever);
}

void WriteL2Start()
{
	osMutexWait(MutexPDHandle, osWaitForever);
	if (pcm.led2_done)
		pcm.l2w++;
	else
		osSemaphoreRelease(led2_semHandle);
	osMutexRelease(MutexPDHandle);
	osSemaphoreWait(led2_semHandle, osWaitForever);
}

void WriteL3Start()
{
	osMutexWait(MutexPDHandle, osWaitForever);
	if (pcm.led3_done)
		pcm.l3w++;
	else
		osSemaphoreRelease(led3_semHandle);
	osMutexRelease(MutexPDHandle);
	osSemaphoreWait(led3_semHandle, osWaitForever);
}

void WriteL1End()
{
	osMutexWait(MutexPDHandle, osWaitForever);
	pcm.led1_done = 1;
	if (pcm.led1_done && pcm.led2_done && pcm.led3_done)
	{
		pcm.lpanel_done = pcm.rpanel_done = 0; //sblocco i pannelli
		PostPanelTasks();
	}
	osMutexRelease(MutexPDHandle);
}

void WriteL2End()
{
	osMutexWait(MutexPDHandle, osWaitForever);
	pcm.led2_done = 1;
	if (pcm.led1_done && pcm.led2_done && pcm.led3_done)
	{
		pcm.lpanel_done = pcm.rpanel_done = 0; //sblocco i pannelli
		PostPanelTasks();
	}
	osMutexRelease(MutexPDHandle);
}

void WriteL3End()
{
	osMutexWait(MutexPDHandle, osWaitForever);
	pcm.led3_done = 1;
	if (pcm.led1_done && pcm.led2_done && pcm.led3_done)
	{
		pcm.lpanel_done = pcm.rpanel_done = 0; //sblocco i pannelli
		PostPanelTasks();
	}
	osMutexRelease(MutexPDHandle);
}

void StartReadButton()
{
	osMutexWait(MutexPDHandle, osWaitForever);
	if (pcm.button_can_do)
		osSemaphoreRelease(button_semHandle);
	else
		pcm.button_wait++;
	osMutexRelease(MutexPDHandle);
	osSemaphoreWait(button_semHandle, osWaitForever);
}

void EndReadButton()
{
	osMutexWait(MutexPDHandle, osWaitForever);
	pcm.button_can_do = 0; //non può andare
	pcm.button_wait = 0; //non è più in attesa
	pcm.led1_done = pcm.led2_done = pcm.led3_done = 0; //indico che devono eseguire i led
	PostLedTasks();
	osMutexRelease(MutexPDHandle);
}
/* USER CODE END 4 */

void StartReadLeftPanel(void const * argument)
{
  /* USER CODE BEGIN 5 */
  /* Infinite loop */

	for(;;)
	{
		ReadLPStart();

		 // Get left panel value
		HAL_ADC_Start(&hadc2);
		HAL_ADC_PollForConversion(&hadc2, HAL_MAX_DELAY);
		pd.leftPanelValue = HAL_ADC_GetValue(&hadc2)*100/2400;

		ReadLPEnd();

		// Delay time (msec)
		osDelay(100);
  }
  /* USER CODE END 5 */
}

void StartReadRightPanel(void const * argument)
{
  /* USER CODE BEGIN StartReadRightPanel */
  /* Infinite loop */
  for(;;)
  {
	ReadRPStart();
	 // Get right panel value
	HAL_ADC_Start(&hadc1);
	HAL_ADC_PollForConversion(&hadc1, HAL_MAX_DELAY);
	pd.rightPanelValue = HAL_ADC_GetValue(&hadc1)*100/2400;

	ReadRPEnd();

    osDelay(100);
  }
  /* USER CODE END StartReadRightPanel */
}

void StartSerialDebug(void const * argument)
{
  /* USER CODE BEGIN StartSerialDebug */
  /* Infinite loop */
  for(;;)
  {
	char msg[50];

	/** Update panel data structure values **/
	// Lock data reads semaphore

	#ifdef SERIAL
	osMutexWait(MutexPDHandle, osWaitForever);

  	// Get data
	sprintf(msg, "Light Panel Right = %hu\r\nLight Panel Left = %hu\r\nThr = %hu\r\nVar = %hu\r\n", pd.rightPanelValue, pd.leftPanelValue, pd.threshold, pd.variation);

	// Unlock data reads semaphore
	osMutexRelease(MutexPDHandle);

	// Print data
	HAL_UART_Transmit(&huart1, (uint8_t *) msg, strlen(msg), HAL_MAX_DELAY);
	#endif

	#ifdef BLUETOOTH
    /** Update panel data structure values **/
	osMutexWait(MutexPDHandle, osWaitForever);

    // Get data
    sprintf(msg, "Light Panel Right = %hu\r\nLight Panel Left = %hu\r\nThr = %hu\r\nVar = %hu\r\n", pd.rightPanelValue, pd.leftPanelValue, pd.threshold, pd.variation);

	// Unlock data reads semaphore
    osMutexRelease(MutexPDHandle);

    // Print data
    HAL_UART_Transmit(&huart4, (uint8_t *) msg, strlen(msg), HAL_MAX_DELAY);
	#endif

	// Delay time (msec)
	osDelay(3000);
  }
  /* USER CODE END StartSerialDebug */
}

void StartSyncButton(void const * argument)
{
  /* USER CODE BEGIN StartSynkButton */
  /* Infinite loop */
  for(;;)
  {
	  StartReadButton();
	  if (blue_button_pressed) {
		  // Reset button pressed variable
		  blue_button_pressed = 0;
		  // Start semaphore
		  //startWritePD();
		  // Set threshold
		  pd.threshold = pd.leftPanelValue<pd.rightPanelValue?pd.leftPanelValue:pd.rightPanelValue;
		  // Set variation
		  pd.variation = abs(pd.leftPanelValue - pd.rightPanelValue);
		  // Release semaphore
		  //endWritePD();
	  }
	  EndReadButton();
	  // Delay time (msec)
	  osDelay(100);
  }
  /* USER CODE END StartSynkButton */
}

void StartLedTask1(void const * argument)
{
  /* USER CODE BEGIN StartLedTask1 */
  /* Infinite loop */
  for(;;)
  {
	  WriteL1Start();
	  int lpv = pd.leftPanelValue;
	  int rpv = pd.rightPanelValue;
	  int var = pd.variation;
	  int th = pd.threshold;
	  if (abs(rpv-lpv)<var)//(rpv>th && lpv>th))
	  {
		  //HAL_GPIO_WritePin(LED3_WIFI__LED4_BLE_GPIO_Port, LED3_WIFI__LED4_BLE_Pin, GPIO_PIN_RESET);
		  HAL_GPIO_WritePin(LED2_GPIO_Port, LED2_Pin, GPIO_PIN_SET);
	  }
	  WriteL1End();
	  osDelay(100);
  }
  /* USER CODE END StartLedTask1 */
}

void StartLedTask2(void const * argument)
{
  /* USER CODE BEGIN StartLedTask2 */
  /* Infinite loop */
  for(;;)
  {
	  WriteL2Start();
	  int lpv = pd.leftPanelValue;
	  int rpv = pd.rightPanelValue;
	  int var = pd.variation;
	  int th = pd.threshold;
	  if (abs(rpv-lpv)>var && (rpv>=lpv))
	  {
		  HAL_GPIO_WritePin(LED2_GPIO_Port, LED2_Pin, GPIO_PIN_RESET);
	  	  HAL_GPIO_WritePin(LED3_WIFI__LED4_BLE_GPIO_Port, LED3_WIFI__LED4_BLE_Pin, GPIO_PIN_SET);
	  }
	  WriteL2End();
	  osDelay(100);
  }
  /* USER CODE END StartLedTask2 */
}

void StartLedTask3(void const * argument)
{
  /* USER CODE BEGIN StartLedTask3 */
  /* Infinite loop */
  for(;;)
  {
	  WriteL3Start();
	  int lpv = pd.leftPanelValue;
	  int rpv = pd.rightPanelValue;
	  int var = pd.variation;
	  int th = pd.threshold;
	  if (abs(rpv-lpv)>var && rpv<lpv)
	  {
		  HAL_GPIO_WritePin(LED2_GPIO_Port, LED2_Pin, GPIO_PIN_RESET);
		  HAL_GPIO_WritePin(LED3_WIFI__LED4_BLE_GPIO_Port, LED3_WIFI__LED4_BLE_Pin, GPIO_PIN_RESET);
	  }
	  WriteL3End();
	  osDelay(100);
  }
  /* USER CODE END StartLedTask3 */
}

void HAL_TIM_PeriodElapsedCallback(TIM_HandleTypeDef *htim)
{
  if (htim->Instance == TIM1) {
    HAL_IncTick();
  }
}

void Error_Handler(void)
{
}

/************************ (C) COPYRIGHT STMicroelectronics *****END OF FILE****/

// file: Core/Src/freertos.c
/* USER CODE BEGIN Header */
/**
  ******************************************************************************
  * File Name          : freertos.c
  * Description        : Code for freertos applications
  ******************************************************************************
  * @attention
  *
  * <h2><center>&copy; Copyright (c) 2020 STMicroelectronics.
  * All rights reserved.</center></h2>
  *
  * This software component is licensed by ST under Ultimate Liberty license
  * SLA0044, the "License"; You may not use this file except in compliance with
  * the License. You may obtain a copy of the License at:
  *                             www.st.com/SLA0044
  *
  ******************************************************************************
  */
/* USER CODE END Header */

#include "FreeRTOS.h"
#include "task.h"
#include "main.h"

/* GetIdleTaskMemory prototype (linked to static allocation support) */
void vApplicationGetIdleTaskMemory( StaticTask_t **ppxIdleTaskTCBBuffer, StackType_t **ppxIdleTaskStackBuffer, uint32_t *pulIdleTaskStackSize );

/* USER CODE BEGIN GET_IDLE_TASK_MEMORY */
static StaticTask_t xIdleTaskTCBBuffer;
static StackType_t xIdleStack[configMINIMAL_STACK_SIZE];

void vApplicationGetIdleTaskMemory( StaticTask_t **ppxIdleTaskTCBBuffer, StackType_t **ppxIdleTaskStackBuffer, uint32_t *pulIdleTaskStackSize )
{
  *ppxIdleTaskTCBBuffer = &xIdleTaskTCBBuffer;
  *ppxIdleTaskStackBuffer = &xIdleStack[0];
  *pulIdleTaskStackSize = configMINIMAL_STACK_SIZE;
  /* place for user code */
}
/* USER CODE END GET_IDLE_TASK_MEMORY */

/************************ (C) COPYRIGHT STMicroelectronics *****END OF FILE****/
